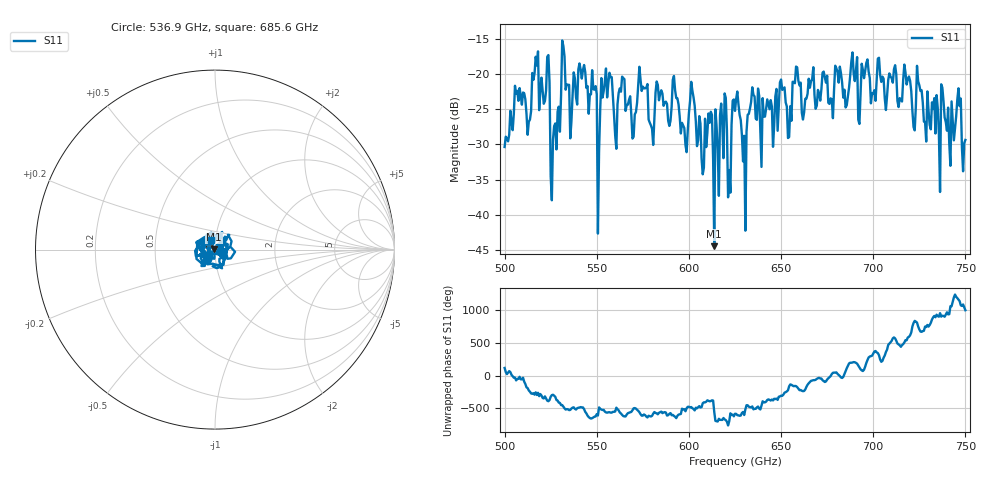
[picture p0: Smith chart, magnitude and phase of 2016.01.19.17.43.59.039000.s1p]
!Created with skrf (http://scikit-rf.org).
# GHz S RI R 50.0
!freq ReS11 ImS11
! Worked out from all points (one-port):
!   401 points, 500 GHz to 750 GHz, reference 50 ohm
!   lowest |S11| = -44.4 dB at 613.8 GHz (marker M1), VSWR 1.01, Z = 49.4 + j0.183 ohm
!   |S11| at or under -10 dB: start of sweep to end of sweep
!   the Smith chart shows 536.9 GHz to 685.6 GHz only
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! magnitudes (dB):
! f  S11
! 500 GHz  -30.4
! 506.9 GHz  -22.4
! 513.1 GHz  -26.8
! 516.9 GHz  -17.6
! 523.1 GHz  -17.6
! 526.2 GHz  -29.3
! 531.2 GHz  -15.3
! 548.8 GHz  -22.3
! 550.6 GHz  -42.7
! 553.8 GHz  -22.5
! 560 GHz  -28.8
! 562.5 GHz  -22.1
! 570 GHz  -28.9
! 574.4 GHz  -22.4
! 579.4 GHz  -27.3
! 593.8 GHz  -23.5
! 613.8 GHz  -44.4
! 618.8 GHz  -32.0
! 621.9 GHz  -33.6
! 625 GHz  -25.3
! 630 GHz  -28.8
! 634.4 GHz  -21.9
! 656.2 GHz  -21.1
! 687.5 GHz  -20.3
! 718.8 GHz  -20.8
! 735 GHz  -24.8
! 746.2 GHz  -22.1
! 750 GHz  -29.4
